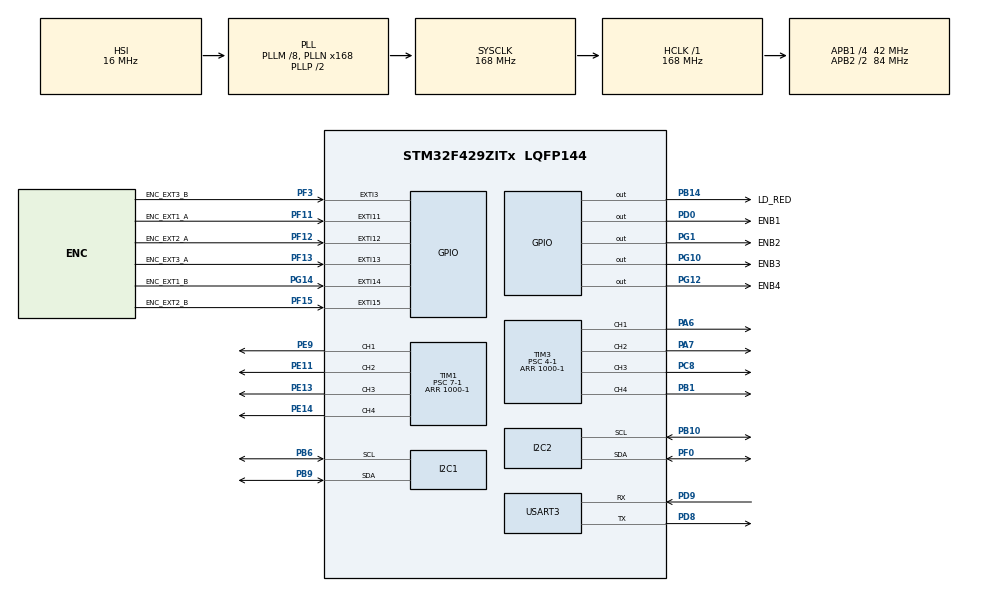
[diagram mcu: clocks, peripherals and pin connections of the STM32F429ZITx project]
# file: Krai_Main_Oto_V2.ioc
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Dma.I2C1_RX.0.Direction=DMA_PERIPH_TO_MEMORY
Dma.I2C1_RX.0.FIFOMode=DMA_FIFOMODE_DISABLE
Dma.I2C1_RX.0.Instance=DMA1_Stream0
Dma.I2C1_RX.0.MemDataAlignment=DMA_MDATAALIGN_BYTE
Dma.I2C1_RX.0.MemInc=DMA_MINC_ENABLE
Dma.I2C1_RX.0.Mode=DMA_NORMAL
Dma.I2C1_RX.0.PeriphDataAlignment=DMA_PDATAALIGN_BYTE
Dma.I2C1_RX.0.PeriphInc=DMA_PINC_DISABLE
Dma.I2C1_RX.0.Priority=DMA_PRIORITY_HIGH
Dma.I2C1_TX.1.Direction=DMA_MEMORY_TO_PERIPH
Dma.I2C1_TX.1.FIFOMode=DMA_FIFOMODE_DISABLE
Dma.I2C1_TX.1.Instance=DMA1_Stream6
Dma.I2C1_TX.1.MemDataAlignment=DMA_MDATAALIGN_BYTE
Dma.I2C1_TX.1.MemInc=DMA_MINC_ENABLE
Dma.I2C1_TX.1.Mode=DMA_NORMAL
Dma.I2C1_TX.1.PeriphDataAlignment=DMA_PDATAALIGN_BYTE
Dma.I2C1_TX.1.PeriphInc=DMA_PINC_DISABLE
Dma.I2C1_TX.1.Priority=DMA_PRIORITY_HIGH
Dma.Request0=I2C1_RX
Dma.Request1=I2C1_TX
Dma.Request2=USART3_RX
Dma.Request3=USART3_TX
Dma.USART3_RX.2.Direction=DMA_PERIPH_TO_MEMORY
Dma.USART3_RX.2.FIFOMode=DMA_FIFOMODE_DISABLE
Dma.USART3_RX.2.Instance=DMA1_Stream1
Dma.USART3_RX.2.MemDataAlignment=DMA_MDATAALIGN_BYTE
Dma.USART3_RX.2.MemInc=DMA_MINC_ENABLE
Dma.USART3_RX.2.Mode=DMA_NORMAL
Dma.USART3_RX.2.PeriphDataAlignment=DMA_PDATAALIGN_BYTE
Dma.USART3_RX.2.PeriphInc=DMA_PINC_DISABLE
Dma.USART3_RX.2.Priority=DMA_PRIORITY_HIGH
Dma.USART3_TX.3.Direction=DMA_MEMORY_TO_PERIPH
Dma.USART3_TX.3.FIFOMode=DMA_FIFOMODE_DISABLE
Dma.USART3_TX.3.Instance=DMA1_Stream3
Dma.USART3_TX.3.MemDataAlignment=DMA_MDATAALIGN_BYTE
Dma.USART3_TX.3.MemInc=DMA_MINC_ENABLE
Dma.USART3_TX.3.Mode=DMA_NORMAL
Dma.USART3_TX.3.PeriphDataAlignment=DMA_PDATAALIGN_BYTE
Dma.USART3_TX.3.PeriphInc=DMA_PINC_DISABLE
Dma.USART3_TX.3.Priority=DMA_PRIORITY_HIGH
FREERTOS.HEAP_NUMBER=4
FREERTOS.Tasks01=KinematicTask,48,4096,DefaultTask,Default,NULL,Static,myTask01Buffer,myTask01ControlBlock;RosTask,42,1024,commTask,Default,NULL,Static,RosTaskBuffer,RosTaskControlBlock;ImuTask,42,128,ImuTask_Function,Default,NULL,Dynamic,NULL,NULL;GUI_LCD_Task,49,256,GUI_Task,Default,NULL,Dynamic,NULL,NULL
FREERTOS.Timers01=myTimer01,Callback01,osTimerPeriodic,Default,NULL,Dynamic,NULL
FREERTOS.configTIMER_TASK_PRIORITY=6
FREERTOS.configUSE_NEWLIB_REENTRANT=1
Mcu.Family=STM32F4
Mcu.Name=STM32F429ZITx
Mcu.Package=LQFP144
NVIC.DMA1_Stream0_IRQn=true\:5\:0\:false\:false\:true\:true\:false\:true\:true
NVIC.DMA1_Stream1_IRQn=true\:5\:0\:false\:false\:true\:true\:false\:true\:true
NVIC.DMA1_Stream3_IRQn=true\:5\:0\:false\:false\:true\:true\:false\:true\:true
NVIC.DMA1_Stream6_IRQn=true\:5\:0\:false\:false\:true\:true\:false\:true\:true
NVIC.EXTI15_10_IRQn=true\:5\:0\:false\:false\:true\:false\:true\:true\:true
NVIC.EXTI3_IRQn=true\:5\:0\:false\:false\:true\:false\:true\:true\:true
NVIC.PriorityGroup=NVIC_PRIORITYGROUP_4
NVIC.TIM8_TRG_COM_TIM14_IRQn=true\:15\:0\:false\:false\:true\:false\:false\:true\:true
NVIC.TIM8_UP_TIM13_IRQn=true\:5\:0\:false\:false\:true\:true\:true\:true\:true
NVIC.TimeBase=TIM8_TRG_COM_TIM14_IRQn
NVIC.TimeBaseIP=TIM14
NVIC.USART3_IRQn=true\:5\:0\:false\:false\:true\:true\:true\:true\:true
PA13.Mode=Serial_Wire
PA13.Signal=SYS_JTMS-SWDIO
PA14.Mode=Serial_Wire
PA14.Signal=SYS_JTCK-SWCLK
PA6.Signal=S_TIM3_CH1
PA7.Signal=S_TIM3_CH2
PB1.Signal=S_TIM3_CH4
PB10.Mode=I2C
PB10.Signal=I2C2_SCL
PB14.GPIO_Label=LD_RED
PB14.Signal=GPIO_Output
PB6.Mode=I2C
PB6.Signal=I2C1_SCL
PB9.Mode=I2C
PB9.Signal=I2C1_SDA
PC14/OSC32_IN.Mode=LSE-External-Oscillator
PC14/OSC32_IN.Signal=RCC_OSC32_IN
PC15/OSC32_OUT.Mode=LSE-External-Oscillator
PC15/OSC32_OUT.Signal=RCC_OSC32_OUT
PC8.Signal=S_TIM3_CH3
PD0.GPIO_Label=ENB1
PD0.Signal=GPIO_Output
PD8.Mode=Asynchronous
PD8.Signal=USART3_TX
PD9.Mode=Asynchronous
PD9.Signal=USART3_RX
PE11.Signal=S_TIM1_CH2
PE13.Signal=S_TIM1_CH3
PE14.Signal=S_TIM1_CH4
PE9.Signal=S_TIM1_CH1
PF0.Mode=I2C
PF0.Signal=I2C2_SDA
PF11.GPIO_Label=ENC_EXT1_A
PF11.GPIO_PuPd=GPIO_PULLUP
PF11.Signal=GPXTI11
PF12.GPIO_Label=ENC_EXT2_A
PF12.GPIO_PuPd=GPIO_PULLUP
PF12.Signal=GPXTI12
PF13.GPIO_Label=ENC_EXT3_A
PF13.GPIO_PuPd=GPIO_PULLUP
PF13.Signal=GPXTI13
PF15.GPIO_Label=ENC_EXT2_B
PF15.GPIO_PuPd=GPIO_PULLUP
PF15.Signal=GPXTI15
PF3.GPIO_Label=ENC_EXT3_B
PF3.GPIO_PuPd=GPIO_PULLUP
PF3.Signal=GPXTI3
PG1.GPIO_Label=ENB2
PG1.Signal=GPIO_Output
PG10.GPIO_Label=ENB3
PG10.Signal=GPIO_Output
PG12.GPIO_Label=ENB4
PG12.Signal=GPIO_Output
PG14.GPIO_Label=ENC_EXT1_B
PG14.GPIO_PuPd=GPIO_PULLUP
PG14.Signal=GPXTI14
PH0/OSC_IN.Mode=HSE-External-Clock-Source
PH0/OSC_IN.Signal=RCC_OSC_IN
PH1/OSC_OUT.Mode=HSE-External-Clock-Source
PH1/OSC_OUT.Signal=RCC_OSC_OUT
ProjectManager.HeapSize=0x200
ProjectManager.StackSize=0x400
ProjectManager.TargetToolchain=STM32CubeIDE
RCC.48MHZClocksFreq_Value=84000000
RCC.AHBFreq_Value=168000000
RCC.APB1CLKDivider=RCC_HCLK_DIV4
RCC.APB1Freq_Value=42000000
RCC.APB1TimFreq_Value=84000000
RCC.APB2CLKDivider=RCC_HCLK_DIV2
RCC.APB2Freq_Value=84000000
RCC.APB2TimFreq_Value=168000000
RCC.CortexFreq_Value=168000000
RCC.HCLKFreq_Value=168000000
RCC.HSE_VALUE=25000000
RCC.HSI_VALUE=16000000
RCC.PLLM=8
RCC.PLLN=168
RCC.SYSCLKFreq_VALUE=168000000
RCC.SYSCLKSource=RCC_SYSCLKSOURCE_PLLCLK
RCC.VCOOutputFreq_Value=336000000
SH.S_TIM1_CH1.0=TIM1_CH1,PWM Generation1 CH1
SH.S_TIM1_CH2.0=TIM1_CH2,PWM Generation2 CH2
SH.S_TIM1_CH3.0=TIM1_CH3,PWM Generation3 CH3
SH.S_TIM1_CH4.0=TIM1_CH4,PWM Generation4 CH4
SH.S_TIM3_CH1.0=TIM3_CH1,PWM Generation1 CH1
SH.S_TIM3_CH2.0=TIM3_CH2,PWM Generation2 CH2
SH.S_TIM3_CH3.0=TIM3_CH3,PWM Generation3 CH3
SH.S_TIM3_CH4.0=TIM3_CH4,PWM Generation4 CH4
TIM1.AutoReloadPreload=TIM_AUTORELOAD_PRELOAD_ENABLE
TIM1.Channel-PWM\ Generation1\ CH1=TIM_CHANNEL_1
TIM1.Channel-PWM\ Generation2\ CH2=TIM_CHANNEL_2
TIM1.Channel-PWM\ Generation3\ CH3=TIM_CHANNEL_3
TIM1.Channel-PWM\ Generation4\ CH4=TIM_CHANNEL_4
TIM1.Period=1000-1
TIM1.Prescaler=7-1
TIM13.AutoReloadPreload=TIM_AUTORELOAD_PRELOAD_ENABLE
TIM13.Period=49999
TIM13.Prescaler=167
TIM3.AutoReloadPreload=TIM_AUTORELOAD_PRELOAD_ENABLE
TIM3.Channel-PWM\ Generation1\ CH1=TIM_CHANNEL_1
TIM3.Channel-PWM\ Generation2\ CH2=TIM_CHANNEL_2
TIM3.Channel-PWM\ Generation3\ CH3=TIM_CHANNEL_3
TIM3.Channel-PWM\ Generation4\ CH4=TIM_CHANNEL_4
TIM3.Period=1000-1
TIM3.Prescaler=4-1
USART3.VirtualMode=VM_ASYNC
VP_FREERTOS_VS_CMSIS_V2.Mode=CMSIS_V2
VP_SYS_VS_tim14.Mode=TIM14
VP_TIM13_VS_ClockSourceINT.Mode=Enable_Timer
VP_TIM1_VS_ClockSourceINT.Mode=Internal
VP_TIM3_VS_ClockSourceINT.Mode=Internal
board=custom

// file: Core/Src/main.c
/* USER CODE BEGIN Header */
/**
 ******************************************************************************
 * @file           : main.c
 * @brief          : Main program body
 ******************************************************************************
 * @attention
 *
 * Copyright (c) 2024 STMicroelectronics.
 * All rights reserved.
 *
 * This software is licensed under terms that can be found in the LICENSE file
 * in the root directory of this software component.
 * If no LICENSE file comes with this software, it is provided AS-IS.
 *
 ******************************************************************************
 */
/* USER CODE END Header */
#include "main.h"
#include "cmsis_os.h"

/* USER CODE BEGIN Includes */
#include "stdio.h"
#include "stdlib.h"
#include "stdbool.h"
#include "kin.h"
#include "bno055_stm32.h"
#include "rosHandler.h"
#include "i2c-lcd.h"
#include "string.h"
#include "strings.h"
/* USER CODE END Includes */

typedef StaticTask_t osStaticThreadDef_t;

I2C_HandleTypeDef hi2c1;
I2C_HandleTypeDef hi2c2;
DMA_HandleTypeDef hdma_i2c1_rx;
DMA_HandleTypeDef hdma_i2c1_tx;

TIM_HandleTypeDef htim1;
TIM_HandleTypeDef htim3;
TIM_HandleTypeDef htim13;

UART_HandleTypeDef huart3;
DMA_HandleTypeDef hdma_usart3_rx;
DMA_HandleTypeDef hdma_usart3_tx;

<<<<<<< HEAD
/* Definitions for myTask01 */
osThreadId_t myTask01Handle;
const osThreadAttr_t myTask01_attributes = {
  .name = "myTask01",
  .stack_size = 2048 * 4,
  .priority = (osPriority_t) osPriorityRealtime,
};
/* Definitions for myTask02 */
osThreadId_t myTask02Handle;
const osThreadAttr_t myTask02_attributes = {
  .name = "myTask02",
  .stack_size = 1024 * 4,
=======
/* Definitions for KinematicTask */
osThreadId_t KinematicTaskHandle;
uint32_t myTask01Buffer[ 4096 ];
osStaticThreadDef_t myTask01ControlBlock;
const osThreadAttr_t KinematicTask_attributes = {
  .name = "KinematicTask",
  .cb_mem = &myTask01ControlBlock,
  .cb_size = sizeof(myTask01ControlBlock),
  .stack_mem = &myTask01Buffer[0],
  .stack_size = sizeof(myTask01Buffer),
  .priority = (osPriority_t) osPriorityRealtime,
};
/* Definitions for RosTask */
osThreadId_t RosTaskHandle;
uint32_t RosTaskBuffer[ 1024 ];
osStaticThreadDef_t RosTaskControlBlock;
const osThreadAttr_t RosTask_attributes = {
  .name = "RosTask",
  .cb_mem = &RosTaskControlBlock,
  .cb_size = sizeof(RosTaskControlBlock),
  .stack_mem = &RosTaskBuffer[0],
  .stack_size = sizeof(RosTaskBuffer),
>>>>>>> 7733a00285ce3db51579a09d1f07c991addf137e
  .priority = (osPriority_t) osPriorityHigh2,
};
/* Definitions for ImuTask */
osThreadId_t ImuTaskHandle;
const osThreadAttr_t ImuTask_attributes = {
  .name = "ImuTask",
  .stack_size = 128 * 4,
  .priority = (osPriority_t) osPriorityHigh2,
};
<<<<<<< HEAD
/* Definitions for myTask04 */
osThreadId_t myTask04Handle;
uint32_t myTask04Buffer[ 256 ];
osStaticThreadDef_t myTask04ControlBlock;
const osThreadAttr_t myTask04_attributes = {
  .name = "myTask04",
  .cb_mem = &myTask04ControlBlock,
  .cb_size = sizeof(myTask04ControlBlock),
  .stack_mem = &myTask04Buffer[0],
  .stack_size = sizeof(myTask04Buffer),
  .priority = (osPriority_t) osPriorityNormal,
=======
/* Definitions for GUI_LCD_Task */
osThreadId_t GUI_LCD_TaskHandle;
const osThreadAttr_t GUI_LCD_Task_attributes = {
  .name = "GUI_LCD_Task",
  .stack_size = 256 * 4,
  .priority = (osPriority_t) osPriorityRealtime1,
};
/* Definitions for myTimer01 */
osTimerId_t myTimer01Handle;
const osTimerAttr_t myTimer01_attributes = {
  .name = "myTimer01"
>>>>>>> 7733a00285ce3db51579a09d1f07c991addf137e
};
/* USER CODE BEGIN PV */
extern int16_t rawYaw; // data mentah heading
int16_t yawRef; // refrensi yaw / heading
int16_t valMotor[4];
int16_t valueENC_EXT[3];
vector3Kin vect3_Kin;
MotorKin MotorOut;
bno055_vector_t vector;
int count;

// Diakses Diluar Main.c
extern int16_t yawVal; // hasil kalkukasi heading
extern int16_t rpmExt[3];
extern float Aksen[3];
extern float xtarget;
extern float ytarget;
extern float thtarget;
extern float InvTarget[3];
extern bool stateInv;
/* USER CODE END PV */

void SystemClock_Config(void);
static void MX_GPIO_Init(void);
static void MX_DMA_Init(void);
static void MX_I2C1_Init(void);
static void MX_USART3_UART_Init(void);
static void MX_TIM1_Init(void);
static void MX_TIM3_Init(void);
static void MX_TIM13_Init(void);
static void MX_I2C2_Init(void);
void DefaultTask(void *argument);
void commTask(void *argument);
void ImuTask_Function(void *argument);
void GUI_Task(void *argument);
void Callback01(void *argument);

/* USER CODE BEGIN PFP */
void HAL_GPIO_EXTI_Callback(uint16_t GPIO_Pin);
void initializeMotor();
int imuCallback(int degree);
void setPwm(uint8_t Motor, int pwm);
/* USER CODE END PFP */

int main(void)
{

  /* MCU Configuration--------------------------------------------------------*/

  /* Reset of all peripherals, Initializes the Flash interface and the Systick. */
  HAL_Init();

  /* Configure the system clock */
  SystemClock_Config();

  /* Initialize all configured peripherals */
  MX_GPIO_Init();
  MX_DMA_Init();
  MX_I2C1_Init();
  MX_USART3_UART_Init();
  MX_TIM1_Init();
  MX_TIM3_Init();
  MX_TIM13_Init();
  MX_I2C2_Init();
  /* USER CODE BEGIN 2 */
	HAL_TIM_Base_Start_IT(&htim13);
  /* USER CODE END 2 */

  /* Init scheduler */
  osKernelInitialize();

<<<<<<< HEAD
=======
  /* Create the timer(s) */
  /* creation of myTimer01 */
  myTimer01Handle = osTimerNew(Callback01, osTimerPeriodic, NULL, &myTimer01_attributes);

>>>>>>> 7733a00285ce3db51579a09d1f07c991addf137e

  /* Create the thread(s) */
<<<<<<< HEAD
  /* creation of myTask01 */
  myTask01Handle = osThreadNew(StartDefaultTask, NULL, &myTask01_attributes);

  /* creation of myTask02 */
  myTask02Handle = osThreadNew(commTask, NULL, &myTask02_attributes);
=======
  /* creation of KinematicTask */
  KinematicTaskHandle = osThreadNew(DefaultTask, NULL, &KinematicTask_attributes);

  /* creation of RosTask */
  RosTaskHandle = osThreadNew(commTask, NULL, &RosTask_attributes);
>>>>>>> 7733a00285ce3db51579a09d1f07c991addf137e

  /* creation of ImuTask */
  ImuTaskHandle = osThreadNew(ImuTask_Function, NULL, &ImuTask_attributes);

<<<<<<< HEAD
  /* creation of myTask04 */
  myTask04Handle = osThreadNew(GUI_Task, NULL, &myTask04_attributes);
=======
  /* creation of GUI_LCD_Task */
  GUI_LCD_TaskHandle = osThreadNew(GUI_Task, NULL, &GUI_LCD_Task_attributes);
>>>>>>> 7733a00285ce3db51579a09d1f07c991addf137e

  /* Start scheduler */
  osKernelStart();

  /* We should never get here as control is now taken by the scheduler */
  /* Infinite loop */
	while (1) {

	}
}

void SystemClock_Config(void)
{
  RCC_OscInitTypeDef RCC_OscInitStruct = {0};
  RCC_ClkInitTypeDef RCC_ClkInitStruct = {0};

  /** Configure the main internal regulator output voltage
  */
  __HAL_RCC_PWR_CLK_ENABLE();
  __HAL_PWR_VOLTAGESCALING_CONFIG(PWR_REGULATOR_VOLTAGE_SCALE1);

  /** Initializes the RCC Oscillators according to the specified parameters
  * in the RCC_OscInitTypeDef structure.
  */
  RCC_OscInitStruct.OscillatorType = RCC_OSCILLATORTYPE_HSI;
  RCC_OscInitStruct.HSIState = RCC_HSI_ON;
  RCC_OscInitStruct.HSICalibrationValue = RCC_HSICALIBRATION_DEFAULT;
  RCC_OscInitStruct.PLL.PLLState = RCC_PLL_ON;
  RCC_OscInitStruct.PLL.PLLSource = RCC_PLLSOURCE_HSI;
  RCC_OscInitStruct.PLL.PLLM = 8;
  RCC_OscInitStruct.PLL.PLLN = 168;
  RCC_OscInitStruct.PLL.PLLP = RCC_PLLP_DIV2;
  RCC_OscInitStruct.PLL.PLLQ = 4;
  if (HAL_RCC_OscConfig(&RCC_OscInitStruct) != HAL_OK)
  {
    Error_Handler();
  }

  /** Initializes the CPU, AHB and APB buses clocks
  */
  RCC_ClkInitStruct.ClockType = RCC_CLOCKTYPE_HCLK|RCC_CLOCKTYPE_SYSCLK
                              |RCC_CLOCKTYPE_PCLK1|RCC_CLOCKTYPE_PCLK2;
  RCC_ClkInitStruct.SYSCLKSource = RCC_SYSCLKSOURCE_PLLCLK;
  RCC_ClkInitStruct.AHBCLKDivider = RCC_SYSCLK_DIV1;
  RCC_ClkInitStruct.APB1CLKDivider = RCC_HCLK_DIV4;
  RCC_ClkInitStruct.APB2CLKDivider = RCC_HCLK_DIV2;

  if (HAL_RCC_ClockConfig(&RCC_ClkInitStruct, FLASH_LATENCY_5) != HAL_OK)
  {
    Error_Handler();
  }
}

static void MX_I2C1_Init(void)
{

  hi2c1.Instance = I2C1;
  hi2c1.Init.ClockSpeed = 100000;
  hi2c1.Init.DutyCycle = I2C_DUTYCYCLE_2;
  hi2c1.Init.OwnAddress1 = 0;
  hi2c1.Init.AddressingMode = I2C_ADDRESSINGMODE_7BIT;
  hi2c1.Init.DualAddressMode = I2C_DUALADDRESS_DISABLE;
  hi2c1.Init.OwnAddress2 = 0;
  hi2c1.Init.GeneralCallMode = I2C_GENERALCALL_DISABLE;
  hi2c1.Init.NoStretchMode = I2C_NOSTRETCH_DISABLE;
  if (HAL_I2C_Init(&hi2c1) != HAL_OK)
  {
    Error_Handler();
  }

  /** Configure Analogue filter
  */
  if (HAL_I2CEx_ConfigAnalogFilter(&hi2c1, I2C_ANALOGFILTER_ENABLE) != HAL_OK)
  {
    Error_Handler();
  }

  /** Configure Digital filter
  */
  if (HAL_I2CEx_ConfigDigitalFilter(&hi2c1, 0) != HAL_OK)
  {
    Error_Handler();
  }

}

static void MX_I2C2_Init(void)
{

  hi2c2.Instance = I2C2;
  hi2c2.Init.ClockSpeed = 100000;
  hi2c2.Init.DutyCycle = I2C_DUTYCYCLE_2;
  hi2c2.Init.OwnAddress1 = 0;
  hi2c2.Init.AddressingMode = I2C_ADDRESSINGMODE_7BIT;
  hi2c2.Init.DualAddressMode = I2C_DUALADDRESS_DISABLE;
  hi2c2.Init.OwnAddress2 = 0;
  hi2c2.Init.GeneralCallMode = I2C_GENERALCALL_DISABLE;
  hi2c2.Init.NoStretchMode = I2C_NOSTRETCH_DISABLE;
  if (HAL_I2C_Init(&hi2c2) != HAL_OK)
  {
    Error_Handler();
  }

  /** Configure Analogue filter
  */
  if (HAL_I2CEx_ConfigAnalogFilter(&hi2c2, I2C_ANALOGFILTER_ENABLE) != HAL_OK)
  {
    Error_Handler();
  }

  /** Configure Digital filter
  */
  if (HAL_I2CEx_ConfigDigitalFilter(&hi2c2, 0) != HAL_OK)
  {
    Error_Handler();
  }

}

static void MX_TIM1_Init(void)
{

  TIM_ClockConfigTypeDef sClockSourceConfig = {0};
  TIM_MasterConfigTypeDef sMasterConfig = {0};
  TIM_OC_InitTypeDef sConfigOC = {0};
  TIM_BreakDeadTimeConfigTypeDef sBreakDeadTimeConfig = {0};

  htim1.Instance = TIM1;
  htim1.Init.Prescaler = 7-1;
  htim1.Init.CounterMode = TIM_COUNTERMODE_UP;
  htim1.Init.Period = 1000-1;
  htim1.Init.ClockDivision = TIM_CLOCKDIVISION_DIV1;
  htim1.Init.RepetitionCounter = 0;
  htim1.Init.AutoReloadPreload = TIM_AUTORELOAD_PRELOAD_ENABLE;
  if (HAL_TIM_Base_Init(&htim1) != HAL_OK)
  {
    Error_Handler();
  }
  sClockSourceConfig.ClockSource = TIM_CLOCKSOURCE_INTERNAL;
  if (HAL_TIM_ConfigClockSource(&htim1, &sClockSourceConfig) != HAL_OK)
  {
    Error_Handler();
  }
  if (HAL_TIM_PWM_Init(&htim1) != HAL_OK)
  {
    Error_Handler();
  }
  sMasterConfig.MasterOutputTrigger = TIM_TRGO_RESET;
  sMasterConfig.MasterSlaveMode = TIM_MASTERSLAVEMODE_DISABLE;
  if (HAL_TIMEx_MasterConfigSynchronization(&htim1, &sMasterConfig) != HAL_OK)
  {
    Error_Handler();
  }
  sConfigOC.OCMode = TIM_OCMODE_PWM1;
  sConfigOC.Pulse = 0;
  sConfigOC.OCPolarity = TIM_OCPOLARITY_HIGH;
  sConfigOC.OCNPolarity = TIM_OCNPOLARITY_HIGH;
  sConfigOC.OCFastMode = TIM_OCFAST_DISABLE;
  sConfigOC.OCIdleState = TIM_OCIDLESTATE_RESET;
  sConfigOC.OCNIdleState = TIM_OCNIDLESTATE_RESET;
  if (HAL_TIM_PWM_ConfigChannel(&htim1, &sConfigOC, TIM_CHANNEL_1) != HAL_OK)
  {
    Error_Handler();
  }
  if (HAL_TIM_PWM_ConfigChannel(&htim1, &sConfigOC, TIM_CHANNEL_2) != HAL_OK)
  {
    Error_Handler();
  }
  if (HAL_TIM_PWM_ConfigChannel(&htim1, &sConfigOC, TIM_CHANNEL_3) != HAL_OK)
  {
    Error_Handler();
  }
  if (HAL_TIM_PWM_ConfigChannel(&htim1, &sConfigOC, TIM_CHANNEL_4) != HAL_OK)
  {
    Error_Handler();
  }
  sBreakDeadTimeConfig.OffStateRunMode = TIM_OSSR_DISABLE;
  sBreakDeadTimeConfig.OffStateIDLEMode = TIM_OSSI_DISABLE;
  sBreakDeadTimeConfig.LockLevel = TIM_LOCKLEVEL_OFF;
  sBreakDeadTimeConfig.DeadTime = 0;
  sBreakDeadTimeConfig.BreakState = TIM_BREAK_DISABLE;
  sBreakDeadTimeConfig.BreakPolarity = TIM_BREAKPOLARITY_HIGH;
  sBreakDeadTimeConfig.AutomaticOutput = TIM_AUTOMATICOUTPUT_DISABLE;
  if (HAL_TIMEx_ConfigBreakDeadTime(&htim1, &sBreakDeadTimeConfig) != HAL_OK)
  {
    Error_Handler();
  }
  HAL_TIM_MspPostInit(&htim1);

}

static void MX_TIM3_Init(void)
{

  TIM_ClockConfigTypeDef sClockSourceConfig = {0};
  TIM_MasterConfigTypeDef sMasterConfig = {0};
  TIM_OC_InitTypeDef sConfigOC = {0};

  htim3.Instance = TIM3;
  htim3.Init.Prescaler = 4-1;
  htim3.Init.CounterMode = TIM_COUNTERMODE_UP;
  htim3.Init.Period = 1000-1;
  htim3.Init.ClockDivision = TIM_CLOCKDIVISION_DIV1;
  htim3.Init.AutoReloadPreload = TIM_AUTORELOAD_PRELOAD_ENABLE;
  if (HAL_TIM_Base_Init(&htim3) != HAL_OK)
  {
    Error_Handler();
  }
  sClockSourceConfig.ClockSource = TIM_CLOCKSOURCE_INTERNAL;
  if (HAL_TIM_ConfigClockSource(&htim3, &sClockSourceConfig) != HAL_OK)
  {
    Error_Handler();
  }
  if (HAL_TIM_PWM_Init(&htim3) != HAL_OK)
  {
    Error_Handler();
  }
  sMasterConfig.MasterOutputTrigger = TIM_TRGO_RESET;
  sMasterConfig.MasterSlaveMode = TIM_MASTERSLAVEMODE_DISABLE;
  if (HAL_TIMEx_MasterConfigSynchronization(&htim3, &sMasterConfig) != HAL_OK)
  {
    Error_Handler();
  }
  sConfigOC.OCMode = TIM_OCMODE_PWM1;
  sConfigOC.Pulse = 0;
  sConfigOC.OCPolarity = TIM_OCPOLARITY_HIGH;
  sConfigOC.OCFastMode = TIM_OCFAST_DISABLE;
  if (HAL_TIM_PWM_ConfigChannel(&htim3, &sConfigOC, TIM_CHANNEL_1) != HAL_OK)
  {
    Error_Handler();
  }
  if (HAL_TIM_PWM_ConfigChannel(&htim3, &sConfigOC, TIM_CHANNEL_2) != HAL_OK)
  {
    Error_Handler();
  }
  if (HAL_TIM_PWM_ConfigChannel(&htim3, &sConfigOC, TIM_CHANNEL_3) != HAL_OK)
  {
    Error_Handler();
  }
  if (HAL_TIM_PWM_ConfigChannel(&htim3, &sConfigOC, TIM_CHANNEL_4) != HAL_OK)
  {
    Error_Handler();
  }
  HAL_TIM_MspPostInit(&htim3);

}

static void MX_TIM13_Init(void)
{

  htim13.Instance = TIM13;
<<<<<<< HEAD
  htim13.Init.Prescaler = 13;
  htim13.Init.CounterMode = TIM_COUNTERMODE_UP;
  htim13.Init.Period = 59999;
=======
  htim13.Init.Prescaler = 167;
  htim13.Init.CounterMode = TIM_COUNTERMODE_UP;
  htim13.Init.Period = 49999;
>>>>>>> 7733a00285ce3db51579a09d1f07c991addf137e
  htim13.Init.ClockDivision = TIM_CLOCKDIVISION_DIV1;
  htim13.Init.AutoReloadPreload = TIM_AUTORELOAD_PRELOAD_ENABLE;
  if (HAL_TIM_Base_Init(&htim13) != HAL_OK)
  {
    Error_Handler();
  }

}

static void MX_USART3_UART_Init(void)
{

  huart3.Instance = USART3;
  huart3.Init.BaudRate = 115200;
  huart3.Init.WordLength = UART_WORDLENGTH_8B;
  huart3.Init.StopBits = UART_STOPBITS_1;
  huart3.Init.Parity = UART_PARITY_NONE;
  huart3.Init.Mode = UART_MODE_TX_RX;
  huart3.Init.HwFlowCtl = UART_HWCONTROL_NONE;
  huart3.Init.OverSampling = UART_OVERSAMPLING_16;
  if (HAL_UART_Init(&huart3) != HAL_OK)
  {
    Error_Handler();
  }

}

static void MX_DMA_Init(void)
{

  /* DMA controller clock enable */
  __HAL_RCC_DMA1_CLK_ENABLE();

  /* DMA interrupt init */
  /* DMA1_Stream0_IRQn interrupt configuration */
  HAL_NVIC_SetPriority(DMA1_Stream0_IRQn, 5, 0);
  HAL_NVIC_EnableIRQ(DMA1_Stream0_IRQn);
  /* DMA1_Stream1_IRQn interrupt configuration */
  HAL_NVIC_SetPriority(DMA1_Stream1_IRQn, 5, 0);
  HAL_NVIC_EnableIRQ(DMA1_Stream1_IRQn);
  /* DMA1_Stream3_IRQn interrupt configuration */
  HAL_NVIC_SetPriority(DMA1_Stream3_IRQn, 5, 0);
  HAL_NVIC_EnableIRQ(DMA1_Stream3_IRQn);
  /* DMA1_Stream6_IRQn interrupt configuration */
  HAL_NVIC_SetPriority(DMA1_Stream6_IRQn, 5, 0);
  HAL_NVIC_EnableIRQ(DMA1_Stream6_IRQn);

}

static void MX_GPIO_Init(void)
{
  GPIO_InitTypeDef GPIO_InitStruct = {0};

  /* GPIO Ports Clock Enable */
  __HAL_RCC_GPIOC_CLK_ENABLE();
  __HAL_RCC_GPIOF_CLK_ENABLE();
  __HAL_RCC_GPIOH_CLK_ENABLE();
  __HAL_RCC_GPIOA_CLK_ENABLE();
  __HAL_RCC_GPIOB_CLK_ENABLE();
  __HAL_RCC_GPIOG_CLK_ENABLE();
  __HAL_RCC_GPIOE_CLK_ENABLE();
  __HAL_RCC_GPIOD_CLK_ENABLE();

  /*Configure GPIO pin Output Level */
  HAL_GPIO_WritePin(GPIOG, ENB2_Pin|ENB3_Pin|ENB4_Pin, GPIO_PIN_RESET);

  /*Configure GPIO pin Output Level */
  HAL_GPIO_WritePin(LD_RED_GPIO_Port, LD_RED_Pin, GPIO_PIN_RESET);

  /*Configure GPIO pin Output Level */
  HAL_GPIO_WritePin(ENB1_GPIO_Port, ENB1_Pin, GPIO_PIN_RESET);

  /*Configure GPIO pins : ENC_EXT3_B_Pin ENC_EXT1_A_Pin ENC_EXT2_A_Pin ENC_EXT3_A_Pin
                           ENC_EXT2_B_Pin */
  GPIO_InitStruct.Pin = ENC_EXT3_B_Pin|ENC_EXT1_A_Pin|ENC_EXT2_A_Pin|ENC_EXT3_A_Pin
                          |ENC_EXT2_B_Pin;
  GPIO_InitStruct.Mode = GPIO_MODE_IT_RISING;
  GPIO_InitStruct.Pull = GPIO_PULLUP;
  HAL_GPIO_Init(GPIOF, &GPIO_InitStruct);

  /*Configure GPIO pins : ENB2_Pin ENB3_Pin ENB4_Pin */
  GPIO_InitStruct.Pin = ENB2_Pin|ENB3_Pin|ENB4_Pin;
  GPIO_InitStruct.Mode = GPIO_MODE_OUTPUT_PP;
  GPIO_InitStruct.Pull = GPIO_NOPULL;
  GPIO_InitStruct.Speed = GPIO_SPEED_FREQ_LOW;
  HAL_GPIO_Init(GPIOG, &GPIO_InitStruct);

  /*Configure GPIO pin : LD_RED_Pin */
  GPIO_InitStruct.Pin = LD_RED_Pin;
  GPIO_InitStruct.Mode = GPIO_MODE_OUTPUT_PP;
  GPIO_InitStruct.Pull = GPIO_NOPULL;
  GPIO_InitStruct.Speed = GPIO_SPEED_FREQ_LOW;
  HAL_GPIO_Init(LD_RED_GPIO_Port, &GPIO_InitStruct);

  /*Configure GPIO pin : ENB1_Pin */
  GPIO_InitStruct.Pin = ENB1_Pin;
  GPIO_InitStruct.Mode = GPIO_MODE_OUTPUT_PP;
  GPIO_InitStruct.Pull = GPIO_NOPULL;
  GPIO_InitStruct.Speed = GPIO_SPEED_FREQ_LOW;
  HAL_GPIO_Init(ENB1_GPIO_Port, &GPIO_InitStruct);

  /*Configure GPIO pin : ENC_EXT1_B_Pin */
  GPIO_InitStruct.Pin = ENC_EXT1_B_Pin;
  GPIO_InitStruct.Mode = GPIO_MODE_IT_RISING;
  GPIO_InitStruct.Pull = GPIO_PULLUP;
  HAL_GPIO_Init(ENC_EXT1_B_GPIO_Port, &GPIO_InitStruct);

  /* EXTI interrupt init*/
  HAL_NVIC_SetPriority(EXTI3_IRQn, 5, 0);
  HAL_NVIC_EnableIRQ(EXTI3_IRQn);

  HAL_NVIC_SetPriority(EXTI15_10_IRQn, 5, 0);
  HAL_NVIC_EnableIRQ(EXTI15_10_IRQn);

}

/* USER CODE BEGIN 4 */

int imuCallback(int degree) {
	int theta = 0;
	int z = degree;
	if (z > 180)
		z -= 360;
	if (yawRef > 180)
		yawRef -= yawRef;
	theta = -z + yawRef;
	if (theta < -180)
		theta += 360;
	else if (theta > 180)
		theta -= 360;

	return theta;
}

void initializeMotor() {
	HAL_TIM_PWM_Start(&htim1, TIM_CHANNEL_1);
	HAL_TIM_PWM_Start(&htim1, TIM_CHANNEL_2);
	HAL_TIM_PWM_Start(&htim1, TIM_CHANNEL_3);
	HAL_TIM_PWM_Start(&htim1, TIM_CHANNEL_4);
	HAL_TIM_PWM_Start(&htim3, TIM_CHANNEL_1);
	HAL_TIM_PWM_Start(&htim3, TIM_CHANNEL_2);
	HAL_TIM_PWM_Start(&htim3, TIM_CHANNEL_3);
	HAL_TIM_PWM_Start(&htim3, TIM_CHANNEL_4);

	HAL_GPIO_WritePin(ENB1_GPIO_Port, ENB1_Pin, GPIO_PIN_SET);
	HAL_GPIO_WritePin(ENB2_GPIO_Port, ENB2_Pin, GPIO_PIN_SET);
	HAL_GPIO_WritePin(ENB3_GPIO_Port, ENB3_Pin, GPIO_PIN_SET);
	HAL_GPIO_WritePin(ENB4_GPIO_Port, ENB4_Pin, GPIO_PIN_SET);
}

void setPwm(uint8_t Motor, int pwm) {
	switch (Motor) {
	case 0: // LEFT FRONT
		if (pwm > 0) {
			TIM3->CCR1 = pwm;
			TIM3->CCR4 = 0;
		} else if (pwm < 0) {
			TIM3->CCR1 = 0;
			TIM3->CCR4 = abs(pwm);
		} else {
			TIM3->CCR1 = 0;
			TIM3->CCR4 = 0;
		}
		break;
	case 1: // LEFT BACK
		if (pwm > 0) {
			TIM1->CCR1 = pwm;
			TIM1->CCR2 = 0;
		} else if (pwm < 0) {
			TIM1->CCR1 = 0;
			TIM1->CCR2 = abs(pwm);
		} else {
			TIM1->CCR1 = 0;
			TIM1->CCR2 = 0;
		}

		break;
	case 2: // RIGHT BACK
		if (pwm > 0) {
			TIM1->CCR3 = 0;
			TIM1->CCR4 = pwm;
		} else if (pwm < 0) {
			TIM1->CCR3 = abs(pwm);
			TIM1->CCR4 = 0;
		} else {
			TIM1->CCR3 = 0;
			TIM1->CCR4 = 0;
		}

		break;
	case 3: // RIGHT FRONT
		if (pwm > 0) {
			TIM3->CCR2 = pwm;
			TIM3->CCR3 = 0;
		} else if (pwm < 0) {
			TIM3->CCR2 = 0;
			TIM3->CCR3 = abs(pwm);
		} else {
			TIM3->CCR2 = 0;
			TIM3->CCR3 = 0;
		}
		break;

	default:
		TIM1->CCR1 = 0;
		TIM1->CCR2 = 0;
		TIM1->CCR3 = 0;
		TIM1->CCR4 = 0;
		TIM3->CCR1 = 0;
		TIM3->CCR2 = 0;
		TIM3->CCR3 = 0;
		TIM3->CCR4 = 0;
	}
}

void HAL_GPIO_EXTI_Callback(uint16_t GPIO_Pin) {
	//Encoder External 1
	if (GPIO_Pin == ENC_EXT1_A_Pin) {
		if ((ENC1B_HIGH && ENC1A_LOW) || (ENC1B_LOW && ENC1A_HIGH)) {
			valueENC_EXT[0]--;
		} else if ((ENC1B_HIGH && ENC1A_HIGH) || (ENC1B_LOW && ENC1A_LOW)) {
			valueENC_EXT[0]++;
		}
	}

	if (GPIO_Pin == ENC_EXT1_B_Pin) {
		if ((ENC1B_HIGH && ENC1A_HIGH) || (ENC1B_LOW && ENC1A_LOW)) {
			valueENC_EXT[0]--;
		} else if ((ENC1B_LOW && ENC1A_HIGH) || (ENC1B_HIGH && ENC1A_LOW)) {
			valueENC_EXT[0]++;
		}
	}
	//Encoder External 2
	if (GPIO_Pin == ENC_EXT2_A_Pin) {
		if ((ENC2B_HIGH && ENC2A_LOW) || (ENC2B_LOW && ENC2A_HIGH)) {
			valueENC_EXT[1]--;
		} else if ((ENC2B_HIGH && ENC2A_HIGH) || (ENC2B_LOW && ENC2A_LOW)) {
			valueENC_EXT[1]++;
		}
	}

	if (GPIO_Pin == ENC_EXT2_B_Pin) {
		if ((ENC2B_HIGH && ENC2A_HIGH) || (ENC2B_LOW && ENC2A_LOW)) {
			valueENC_EXT[1]--;
		} else if ((ENC2B_LOW && ENC2A_HIGH) || (ENC2B_HIGH && ENC2A_LOW)) {
			valueENC_EXT[1]++;
		}
	}
	//Encoder External 3
	if (GPIO_Pin == ENC_EXT3_A_Pin) {
		if ((ENC3B_HIGH && ENC3A_LOW) || (ENC3B_LOW && ENC3A_HIGH)) {
			valueENC_EXT[2]--;
		} else if ((ENC3B_HIGH && ENC3A_HIGH) || (ENC3B_LOW && ENC3A_LOW)) {
			valueENC_EXT[2]++;
		}
	}

	if (GPIO_Pin == ENC_EXT3_B_Pin) {
		if ((ENC3B_HIGH && ENC3A_HIGH) || (ENC3B_LOW && ENC3A_LOW)) {
			valueENC_EXT[2]--;
		} else if ((ENC3B_LOW && ENC3A_HIGH) || (ENC3B_HIGH && ENC3A_LOW)) {
			valueENC_EXT[2]++;
		}
	}
}

/* USER CODE END 4 */

/* USER CODE BEGIN Header_DefaultTask */
/**
<<<<<<< HEAD
 * @brief  Function implementing the myTask01 thread.
 * @param  argument: Not used
 * @retval None
 */
/* USER CODE END Header_StartDefaultTask */
void StartDefaultTask(void *argument)
=======
  * @brief  Function implementing the KinematicTask thread.
  * @param  argument: Not used
  * @retval None
  */
/* USER CODE END Header_DefaultTask */
void DefaultTask(void *argument)
>>>>>>> 7733a00285ce3db51579a09d1f07c991addf137e
{
  /* USER CODE BEGIN 5 */
	initializeMotor();
	osTimerStart(myTimer01Handle, 100);
	vTaskDelay(10);
	stateInv = false;
	/* Infinite loop */
	for (;;) {
		if (stateInv == true) {
			kinMotor(&MotorOut, InvTarget[0], InvTarget[1], InvTarget[2]);
		} else {
			vect3_Kin = ForwardKin(xtarget, ytarget, thtarget);
			MotorOut = InverseKin(&vect3_Kin);
		}
		setPwm(0, MotorOut.w1); setPwm(1, MotorOut.w2);
		setPwm(2, MotorOut.w3); setPwm(3, MotorOut.w4);
		osDelay(1);
	}
  /* USER CODE END 5 */
}

void commTask(void *argument)
{
  /* USER CODE BEGIN commTask */
	setup();
	/* Infinite loop */
	for (;;) {
		loop();
		osDelay(1);
	}
  /* USER CODE END commTask */
}

void ImuTask_Function(void *argument)
{
  /* USER CODE BEGIN ImuTask_Function */
	bno055_assignI2C(&hi2c1);
	bno055_setup();
	bno055_setOperationModeNDOF();
	vTaskDelay(100);
	/* Infinite loop */
	for (;;) {
		vector = bno055_getVectorEuler();
<<<<<<< HEAD
//		gyro = bno055_getVectorGyroscope();
//		line = bno055_getVectorLinearAccel();
//		quat = bno055_getVectorQuaternion();
//		imuPublish(&quat, &line, &gyro);
=======
>>>>>>> 7733a00285ce3db51579a09d1f07c991addf137e
		vTaskDelay(1);
		rawYaw = vector.x;
		yawVal = imuCallback(rawYaw);
		osDelay(1);
	}
  /* USER CODE END ImuTask_Function */
}

void GUI_Task(void *argument)
{
  /* USER CODE BEGIN GUI_Task */
	lcd_init();
	char buff[50];
	/* Infinite loop */
	for (;;) {
		lcd_clear();
		lcd_send_cmd(0x80 | 0x04);
		lcd_send_string("ABUROBONEMA");

		lcd_send_cmd(0x80 | 0x40);
		lcd_send_string("Head:");
		lcd_send_cmd(0x80 | 0x45);
		Lcd_send_int(yawVal);
		lcd_send_cmd(0x80 | 0x14);
		sprintf(buff, "X:%.2f  Y:%.2f", Aksen[0], Aksen[1]);
		lcd_send_string(buff);
		lcd_send_cmd(0x80 | 0x54);
		sprintf(buff, "err:%.3f", sqrt(pow(abs(vect3_Kin.x), 2)) + pow(abs(vect3_Kin.y), 2) + pow(abs(d2r(vect3_Kin.th)), 2));
		lcd_send_string(buff);
		vTaskDelay(50);
		osDelay(1);
	}
  /* USER CODE END GUI_Task */
<<<<<<< HEAD
=======
}

/* Callback01 function */
void Callback01(void *argument)
{
>>>>>>> 7733a00285ce3db51579a09d1f07c991addf137e
}

void HAL_TIM_PeriodElapsedCallback(TIM_HandleTypeDef *htim)
{
  if (htim->Instance == TIM14) {
    HAL_IncTick();
  }
  /* USER CODE BEGIN Callback 1 */
	if (htim->Instance == TIM13) {
		for (uint8_t i = 0; i < 3; i++) {
			rpmExt[i] = valueENC_EXT[i] * 600 / 715;
//			rpmExt[i] = rpmExt[i] * (0.029 * 2 * 3.14);
			valueENC_EXT[i] = 0;
		}
	}

  /* USER CODE END Callback 1 */
}

void Error_Handler(void)
{
	__disable_irq();
	while (1) {
	}
}
